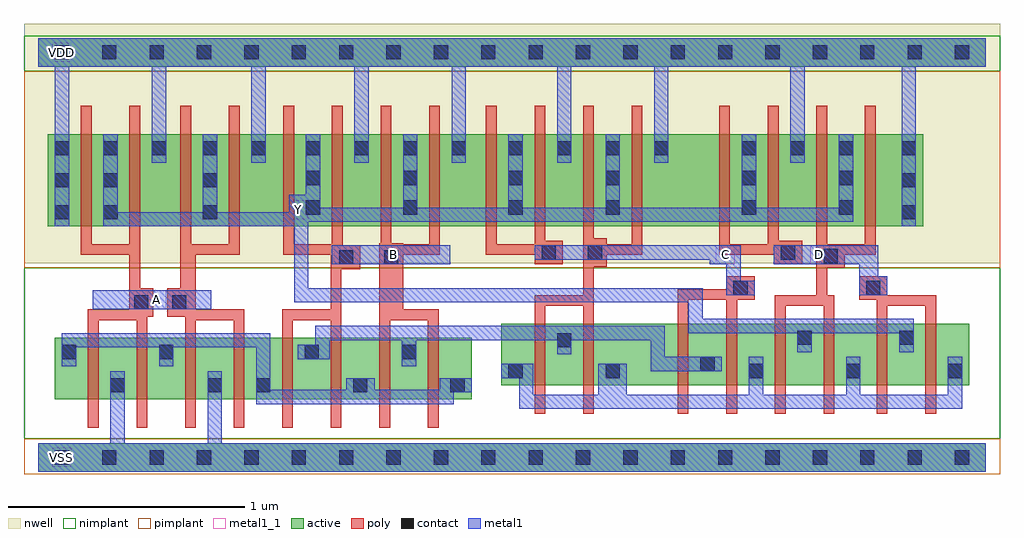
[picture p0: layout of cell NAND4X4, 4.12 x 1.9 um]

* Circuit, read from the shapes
.subckt NAND4X4 A B C D VDD VSS Y
M1 VSS A n1 VSS nfet w=0.26u l=0.045u m=4
M2 n2 B n1 VSS nfet w=0.26u l=0.045u m=4
M3 n2 C n3 VSS nfet w=0.26u l=0.045u m=4
M4 Y D n3 VSS nfet w=0.26u l=0.045u m=4
M5 Y A VDD VDD pfet w=0.39u l=0.045u m=4
M6 Y B VDD VDD pfet w=0.39u l=0.045u m=4
M7 Y C VDD VDD pfet w=0.39u l=0.045u m=4
M8 Y D VDD VDD pfet w=0.39u l=0.045u m=4
.ends

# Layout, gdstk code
import gdstk
lib = gdstk.Library(unit=1e-6, precision=5e-10)
def R(c, l, rs):  # rectangles x0, y0, x1, y1
    for r in rs: c.add(gdstk.rectangle(r[:2], r[2:], *l))
def A(c, l, x, y, w, h, nx, ny, dx, dy):  # array of equal rectangles
    R(c, l, [(x+i*dx, y+j*dy, x+i*dx+w, y+j*dy+h) for i in range(nx) for j in range(ny)])
def P(c, l, *ps):  # polygons
    for p in ps: c.add(gdstk.Polygon(p, *l))
active = (1, 0)
nwell = (2, 0)
poly = (3, 0)
nimplant = (4, 0)
pimplant = (5, 0)
contact = (6, 0)
metal1 = (7, 0)
metal1_1 = (7, 1)

nand4x4 = lib.new_cell('NAND4X4')
R(nand4x4, active, [(0,-0.06,4,0.06), (0.07,0.245,1.83,0.505), (1.955,0.305,3.93,0.565), (0.04,0.975,3.735,1.365), (0,1.65,4,1.77)])
R(nand4x4, nwell, [(-0.06,0.82,4.06,1.83)])
P(nand4x4, poly, [(0.18,1.485),(0.225,1.485),(0.225,0.9),(0.385,0.9),(0.385,1.485),(0.43,1.485),(0.43,0.715),(0.485,0.715),(0.485,0.595),(0.46,0.595),(0.46,0.125),(0.415,0.125),(0.415,0.58),(0.255,0.58),(0.255,0.125),(0.21,0.125),(0.21,0.625),(0.385,0.625),(0.385,0.855),(0.18,0.855)],
  [(0.6,1.485),(0.645,1.485),(0.645,0.9),(0.805,0.9),(0.805,1.485),(0.85,1.485),(0.85,0.855),(0.665,0.855),(0.665,0.625),(0.87,0.625),(0.87,0.125),(0.825,0.125),(0.825,0.58),(0.665,0.58),(0.665,0.125),(0.62,0.125),(0.62,0.595),(0.545,0.595),(0.545,0.715),(0.6,0.715)],
  [(1.035,1.485),(1.08,1.485),(1.08,0.9),(1.24,0.9),(1.24,1.485),(1.285,1.485),(1.285,0.895),(1.36,0.895),(1.36,0.795),(1.28,0.795),(1.28,0.125),(1.235,0.125),(1.235,0.58),(1.075,0.58),(1.075,0.125),(1.03,0.125),(1.03,0.625),(1.235,0.625),(1.235,0.855),(1.035,0.855)],
  [(1.445,1.485),(1.49,1.485),(1.49,0.905),(1.54,0.905),(1.54,0.9),(1.65,0.9),(1.65,1.485),(1.695,1.485),(1.695,0.855),(1.54,0.855),(1.54,0.625),(1.69,0.625),(1.69,0.125),(1.645,0.125),(1.645,0.58),(1.485,0.58),(1.485,0.125),(1.44,0.125),(1.44,0.905),(1.445,0.905)],
  [(1.89,1.485),(1.935,1.485),(1.935,0.9),(2.095,0.9),(2.095,1.485),(2.14,1.485),(2.14,0.915),(2.215,0.915),(2.215,0.815),(2.095,0.815),(2.095,0.855),(1.89,0.855)],
  [(2.3,1.485),(2.345,1.485),(2.345,0.925),(2.4,0.925),(2.4,0.9),(2.505,0.9),(2.505,1.485),(2.55,1.485),(2.55,0.855),(2.4,0.855),(2.4,0.805),(2.345,0.805),(2.345,0.185),(2.3,0.185),(2.3,0.64),(2.14,0.64),(2.14,0.185),(2.095,0.185),(2.095,0.685),(2.3,0.685)],
  [(2.875,1.485),(2.92,1.485),(2.92,0.9),(3.08,0.9),(3.08,1.485),(3.125,1.485),(3.125,0.915),(3.225,0.915),(3.225,0.815),(3.105,0.815),(3.105,0.855),(2.875,0.855)],
  [(3.285,1.485),(3.33,1.485),(3.33,0.9),(3.49,0.9),(3.49,1.485),(3.535,1.485),(3.535,0.855),(3.405,0.855),(3.405,0.8),(3.33,0.8),(3.33,0.685),(3.36,0.685),(3.36,0.185),(3.315,0.185),(3.315,0.64),(3.155,0.64),(3.155,0.185),(3.11,0.185),(3.11,0.685),(3.285,0.685)],
  [(2.905,0.765),(3.025,0.765),(3.025,0.665),(2.95,0.665),(2.95,0.185),(2.905,0.185),(2.905,0.665),(2.745,0.665),(2.745,0.185),(2.7,0.185),(2.7,0.71),(2.905,0.71)],
  [(3.465,0.765),(3.585,0.765),(3.585,0.685),(3.79,0.685),(3.79,0.185),(3.745,0.185),(3.745,0.64),(3.585,0.64),(3.585,0.185),(3.54,0.185),(3.54,0.665),(3.465,0.665)])
R(nand4x4, nimplant, [(-0.06,0.08,4.06,0.8), (-0.06,1.63,4.06,1.78)])
R(nand4x4, pimplant, [(-0.06,-0.07,4.06,0.08), (-0.06,0.8,4.06,1.63)])
A(nand4x4, contact, 0.07, -0.03, 0.06, 0.06, 20, 2, 0.2, 1.71)
A(nand4x4, contact, 0.92, 0.275, 0.06, 0.06, 3, 1, 0.41, 0)
A(nand4x4, contact, 0.695, 1.005, 0.06, 0.06, 1, 3, 0, 0.135)
A(nand4x4, contact, 3.645, 1.005, 0.06, 0.06, 1, 3, 0, 0.135)
A(nand4x4, contact, 0.07, 1.275, 0.06, 0.06, 3, 1, 0.205, 0)
A(nand4x4, contact, 1.13, 1.275, 0.06, 0.06, 4, 1, 0.205, 0)
A(nand4x4, contact, 1.985, 1.275, 0.06, 0.06, 4, 1, 0.205, 0)
A(nand4x4, contact, 2.97, 1.275, 0.06, 0.06, 3, 1, 0.205, 0)
R(nand4x4, contact, [(0.305,0.275,0.365,0.335), (0.715,0.275,0.775,0.335), (1.985,0.335,2.045,0.395), (2.395,0.335,2.455,0.395), (3,0.335,3.06,0.395), (3.41,0.335,3.47,0.395), (3.84,0.335,3.9,0.395), (2.795,0.365,2.855,0.425), (0.1,0.415,0.16,0.475), (0.51,0.415,0.57,0.475), (1.125,0.415,1.185,0.475), (1.535,0.415,1.595,0.475), (2.19,0.465,2.25,0.525), (3.205,0.475,3.265,0.535), (3.635,0.475,3.695,0.535), (0.405,0.625,0.465,0.685), (0.565,0.625,0.625,0.685), (2.935,0.685,2.995,0.745), (3.495,0.685,3.555,0.745), (1.27,0.815,1.33,0.875), (1.46,0.815,1.52,0.875), (3.315,0.82,3.375,0.88), (2.125,0.835,2.185,0.895), (2.32,0.835,2.38,0.895), (3.135,0.835,3.195,0.895), (0.07,1.005,0.13,1.065), (0.275,1.005,0.335,1.065), (1.13,1.025,1.19,1.085), (1.54,1.025,1.6,1.085), (1.985,1.025,2.045,1.085), (2.395,1.025,2.455,1.085), (2.97,1.025,3.03,1.085), (3.38,1.025,3.44,1.085), (0.07,1.14,0.13,1.2), (0.275,1.14,0.335,1.2), (1.13,1.15,1.19,1.21), (1.54,1.15,1.6,1.21), (1.985,1.15,2.045,1.21), (2.395,1.15,2.455,1.21), (2.97,1.15,3.03,1.21), (3.38,1.15,3.44,1.21), (0.9,1.275,0.96,1.335)])
R(nand4x4, metal1, [(0.23,0.625,0.73,0.705), (1.24,0.815,1.74,0.895)])
P(nand4x4, metal1, [(0,1.77),(4,1.77),(4,1.65),(3.705,1.65),(3.705,0.975),(3.645,0.975),(3.645,1.65),(3.235,1.65),(3.235,1.245),(3.175,1.245),(3.175,1.65),(2.66,1.65),(2.66,1.245),(2.6,1.245),(2.6,1.65),(2.25,1.65),(2.25,1.245),(2.19,1.245),(2.19,1.65),(1.805,1.65),(1.805,1.245),(1.745,1.245),(1.745,1.65),(1.395,1.65),(1.395,1.245),(1.335,1.245),(1.335,1.65),(0.96,1.65),(0.96,1.245),(0.9,1.245),(0.9,1.65),(0.54,1.65),(0.54,1.245),(0.48,1.245),(0.48,1.65),(0.13,1.65),(0.13,0.975),(0.07,0.975),(0.07,1.65),(0,1.65)],
  [(0.275,1.365),(0.335,1.365),(0.335,1.035),(0.695,1.035),(0.695,1.365),(0.755,1.365),(0.755,1.035),(1.06,1.035),(1.06,1.11),(1.13,1.11),(1.13,1.365),(1.19,1.365),(1.19,1.055),(1.54,1.055),(1.54,1.365),(1.6,1.365),(1.6,1.055),(1.985,1.055),(1.985,1.365),(2.045,1.365),(2.045,1.055),(2.395,1.055),(2.395,1.365),(2.455,1.365),(2.455,1.055),(2.97,1.055),(2.97,1.365),(3.03,1.365),(3.03,1.055),(3.38,1.055),(3.38,1.365),(3.44,1.365),(3.44,0.995),(1.14,0.995),(1.14,0.715),(2.805,0.715),(2.805,0.585),(3.695,0.585),(3.695,0.445),(3.635,0.445),(3.635,0.525),(3.265,0.525),(3.265,0.445),(3.205,0.445),(3.205,0.525),(2.745,0.525),(2.745,0.655),(1.08,0.655),(1.08,0.975),(0.275,0.975)],
  [(2.095,0.895),(2.965,0.895),(2.965,0.745),(3.025,0.745),(3.025,0.685),(2.905,0.685),(2.905,0.815),(2.835,0.815),(2.835,0.835),(2.095,0.835)],
  [(3.105,0.895),(3.545,0.895),(3.545,0.765),(3.585,0.765),(3.585,0.685),(3.465,0.685),(3.465,0.815),(3.105,0.815)],
  [(0.1,0.525),(0.98,0.525),(0.98,0.285),(1.3,0.285),(1.3,0.335),(1.42,0.335),(1.42,0.285),(1.695,0.285),(1.695,0.335),(1.83,0.335),(1.83,0.275),(1.755,0.275),(1.755,0.225),(0.92,0.225),(0.92,0.465),(0.57,0.465),(0.57,0.385),(0.51,0.385),(0.51,0.465),(0.16,0.465),(0.16,0.385),(0.1,0.385)],
  [(0.305,0.365),(0.365,0.365),(0.365,0.06),(0.715,0.06),(0.715,0.365),(0.775,0.365),(0.775,0.06),(4,0.06),(4,-0.06),(0,-0.06),(0,0.06),(0.305,0.06)],
  [(1.17,0.555),(2.645,0.555),(2.645,0.425),(2.885,0.425),(2.885,0.365),(2.585,0.365),(2.585,0.495),(2.25,0.495),(2.25,0.435),(2.19,0.435),(2.19,0.495),(1.595,0.495),(1.595,0.385),(1.535,0.385),(1.535,0.495),(1.23,0.495),(1.23,0.415),(1.095,0.415),(1.095,0.475),(1.17,0.475)],
  [(1.955,0.395),(2.09,0.395),(2.09,0.265),(2.365,0.265),(2.365,0.395),(2.485,0.395),(2.485,0.265),(3,0.265),(3,0.425),(3.06,0.425),(3.06,0.265),(3.41,0.265),(3.41,0.425),(3.47,0.425),(3.47,0.265),(3.84,0.265),(3.84,0.425),(3.9,0.425),(3.9,0.205),(2.03,0.205),(2.03,0.335),(1.955,0.335)])
R(nand4x4, metal1_1, [(0.06,-0.04,0.14,0.04), (0.46,0.625,0.54,0.705), (1.46,0.815,1.54,0.895), (2.86,0.815,2.94,0.895), (3.26,0.815,3.34,0.895), (1.06,1.005,1.14,1.085), (0.06,1.67,0.14,1.75)])
nand4x4.add(gdstk.Label('Y', (1.1,1.045), layer=7, texttype=1))
nand4x4.add(gdstk.Label('A', (0.5,0.665), layer=7, texttype=1))
nand4x4.add(gdstk.Label('B', (1.5,0.855), layer=7, texttype=1))
nand4x4.add(gdstk.Label('C', (2.9,0.855), layer=7, texttype=1))
nand4x4.add(gdstk.Label('D', (3.3,0.855), layer=7, texttype=1))
nand4x4.add(gdstk.Label('VDD', (0.1,1.71), layer=7, texttype=1))
nand4x4.add(gdstk.Label('VSS', (0.1,0), layer=7, texttype=1))
nand4x4.add(gdstk.Label('NAND4X4', (0,0), layer=63, texttype=0))

lib.write_gds('NAND4X4.gds')
